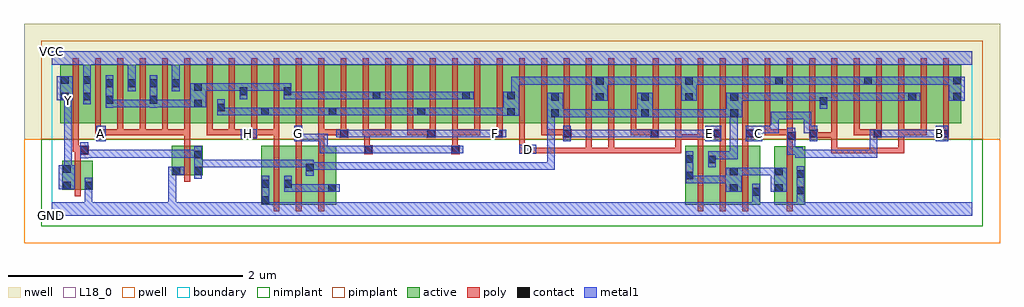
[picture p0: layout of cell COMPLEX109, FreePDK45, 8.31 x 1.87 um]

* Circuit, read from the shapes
.subckt COMPLEX109 A B C D E F G GND H VCC Y
M1 GND n1 Y VSUBS nfet w=0.25u l=0.05u
M2 n1 A GND VSUBS nfet w=0.25u l=0.05u
M3 n2 H GND VSUBS nfet w=0.5u l=0.05u
M4 n1 G n2 VSUBS nfet w=0.5u l=0.05u
M5 n2 F n1 VSUBS nfet w=0.5u l=0.05u
M6 n1 D n3 VSUBS nfet w=0.5u l=0.05u
M7 n3 E n1 VSUBS nfet w=0.5u l=0.05u
M8 GND C n3 VSUBS nfet w=0.5u l=0.05u
M9 GND B n3 VSUBS nfet w=0.5u l=0.05u
M10 VCC n1 Y n4 pfet w=0.5u l=0.05u
M11 n5 A VCC n4 pfet w=0.5u l=0.05u m=5
M12 n6 H n5 n4 pfet w=0.5u l=0.05u m=4
M13 n7 G n5 n4 pfet w=0.5u l=0.05u
M14 n6 F n7 n4 pfet w=0.5u l=0.05u
M15 n8 F n6 n4 pfet w=0.5u l=0.05u
M16 n5 G n8 n4 pfet w=0.5u l=0.05u
M17 n9 G n5 n4 pfet w=0.5u l=0.05u
M18 n6 F n9 n4 pfet w=0.5u l=0.05u
M19 n10 F n6 n4 pfet w=0.5u l=0.05u
M20 n5 G n10 n4 pfet w=0.5u l=0.05u
M21 n11 G n5 n4 pfet w=0.5u l=0.05u
M22 n6 F n11 n4 pfet w=0.5u l=0.05u
M23 n12 D n6 n4 pfet w=0.5u l=0.05u
M24 n1 E n12 n4 pfet w=0.5u l=0.05u
M25 n13 E n1 n4 pfet w=0.5u l=0.05u
M26 n6 D n13 n4 pfet w=0.5u l=0.05u
M27 n14 D n6 n4 pfet w=0.5u l=0.05u
M28 n1 E n14 n4 pfet w=0.5u l=0.05u
M29 n15 E n1 n4 pfet w=0.5u l=0.05u
M30 n6 D n15 n4 pfet w=0.5u l=0.05u
M31 n16 D n6 n4 pfet w=0.5u l=0.05u
M32 n1 E n16 n4 pfet w=0.5u l=0.05u
M33 n17 C n1 n4 pfet w=0.5u l=0.05u
M34 n6 B n17 n4 pfet w=0.5u l=0.05u
M35 n18 B n6 n4 pfet w=0.5u l=0.05u
M36 n1 C n18 n4 pfet w=0.5u l=0.05u
M37 n19 C n1 n4 pfet w=0.5u l=0.05u
M38 n6 B n19 n4 pfet w=0.5u l=0.05u
M39 n20 B n6 n4 pfet w=0.5u l=0.05u
M40 n1 C n20 n4 pfet w=0.5u l=0.05u
M41 n21 C n1 n4 pfet w=0.5u l=0.05u
M42 n6 B n21 n4 pfet w=0.5u l=0.05u
.ends

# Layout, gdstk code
import gdstk
lib = gdstk.Library(unit=1e-6, precision=1e-09)
def R(c, l, rs):  # rectangles x0, y0, x1, y1
    for r in rs: c.add(gdstk.rectangle(r[:2], r[2:], *l))
def A(c, l, x, y, w, h, nx, ny, dx, dy):  # array of equal rectangles
    R(c, l, [(x+i*dx, y+j*dy, x+i*dx+w, y+j*dy+h) for i in range(nx) for j in range(ny)])
active = (1, 0)
pwell = (2, 0)
nwell = (3, 0)
nimplant = (4, 0)
pimplant = (5, 0)
poly = (9, 0)
contact = (10, 0)
metal1 = (11, 0)
L18_0 = (18, 0)
boundary = (235, 0)

complex109 = lib.new_cell('COMPLEX109')
A(complex109, active, 0.075, 0.787, 0.265, 0.5, 3, 1, 0.19, 0)
A(complex109, active, 2.58, 0.787, 0.225, 0.5, 3, 1, 0.38, 0)
A(complex109, active, 2.73, 0.787, 0.23, 0.5, 3, 1, 0.38, 0)
A(complex109, active, 5.62, 0.787, 0.23, 0.5, 4, 1, 0.38, 0)
A(complex109, active, 5.775, 0.787, 0.225, 0.5, 4, 1, 0.38, 0)
A(complex109, active, 1.97, 0.807, 0.075, 0.393, 3, 1, 0.76, 0)
A(complex109, active, 5.015, 0.807, 0.075, 0.263, 3, 1, 0.76, 0)
R(complex109, active, [(6.155,0.092,6.415,0.592), (1.785,0.095,1.86,0.595), (1.785,0.095,2.05,0.595), (1.975,0.095,2.05,0.592), (1.975,0.095,2.235,0.595), (2.16,0.095,2.235,0.592), (2.16,0.095,2.425,0.595), (2.35,0.095,2.425,0.55), (5.395,0.095,5.47,0.595), (5.395,0.095,5.66,0.595), (5.585,0.095,5.66,0.592), (5.585,0.095,5.845,0.595), (5.77,0.095,5.845,0.592), (5.77,0.095,6.035,0.595), (5.96,0.095,6.035,0.595), (6.155,0.095,6.23,0.592), (6.34,0.095,6.415,0.592), (0.092,0.22,0.167,0.47), (0.092,0.22,0.352,0.47), (0.277,0.22,0.352,0.47), (1.025,0.345,1.1,0.595), (1.025,0.345,1.285,0.595), (1.21,0.345,1.285,0.595), (0.075,0.787,0.15,1.2), (0.645,0.787,0.905,1.287), (0.83,0.787,1.095,1.287), (1.02,0.787,1.285,1.287), (1.21,0.787,1.48,1.287), (1.405,0.787,1.67,1.287), (1.595,0.787,1.855,1.287), (1.78,0.787,2.045,1.287), (1.97,0.787,2.2,1.287), (2.2,0.787,2.43,1.287), (2.355,0.787,2.58,1.287), (3.72,0.787,3.95,1.287), (3.875,0.787,4.1,1.287), (4.1,0.787,4.325,1.287), (4.25,0.787,4.48,1.287), (4.48,0.787,4.705,1.287), (4.63,0.787,4.86,1.287), (4.86,0.787,5.09,1.287), (5.015,0.787,5.24,1.287), (5.24,0.787,5.465,1.287), (5.39,0.787,5.62,1.287), (7.14,0.787,7.365,1.287), (7.29,0.787,7.52,1.287), (7.52,0.787,7.745,1.287), (7.67,0.787,7.745,1.2), (0.265,0.807,0.34,1.205), (0.455,0.807,0.53,1.2), (0.645,0.807,0.72,1.205), (0.83,0.807,0.905,1.2), (1.02,0.807,1.095,1.205), (1.21,0.807,1.285,1.2), (1.405,0.807,1.48,1.07), (1.595,0.807,1.67,1.2), (1.78,0.807,1.855,1.07), (2.355,0.807,2.43,1.07), (3.11,0.807,3.185,1.07), (3.875,0.807,3.95,1.2), (4.25,0.807,4.325,1.07), (4.63,0.807,4.705,1.2), (5.39,0.807,5.465,1.2), (6.155,0.807,6.23,1.2), (6.915,0.807,6.99,1.2), (7.29,0.807,7.365,1.07)])
R(complex109, pwell, [(-0.235,-0.235,8.075,0.65)])
R(complex109, nwell, [(-0.235,0.65,8.075,1.635)])
R(complex109, nimplant, [(-0.09,-0.09,7.93,0.65)])
R(complex109, pimplant, [(-0.09,0.65,7.93,1.49)])
A(complex109, poly, 1.89, 0.04, 0.05, 0.61, 3, 1, 0.19, 0)
A(complex109, poly, 5.5, 0.04, 0.05, 0.61, 3, 1, 0.19, 0)
A(complex109, poly, 0.37, 0.687, 0.05, 0.095, 19, 1, 0.19, 0)
A(complex109, poly, 0.56, 0.687, 0.24, 0.05, 3, 1, 0.19, 0)
A(complex109, poly, 0.75, 0.687, 0.05, 0.05, 3, 1, 0.19, 0)
A(complex109, poly, 1.13, 0.687, 0.05, 0.05, 3, 1, 0.19, 0)
A(complex109, poly, 3.03, 0.687, 0.215, 0.05, 3, 1, 1.9, 0)
A(complex109, poly, 5.69, 0.687, 0.05, 0.095, 5, 1, 0.19, 0)
A(complex109, poly, 6.83, 0.687, 0.05, 0.095, 5, 1, 0.19, 0)
A(complex109, poly, 0.18, 0.732, 0.05, 0.61, 40, 1, 0.19, 0)
R(complex109, poly, [(6.26,0.037,6.31,0.647), (0.197,0.165,0.247,0.525), (1.13,0.29,1.18,0.65), (0.197,0.475,0.247,0.57), (0.197,0.52,0.315,0.595), (2.66,0.525,2.735,0.6), (3.402,0.525,3.477,0.6), (3.98,0.53,4.087,0.605), (4.037,0.53,4.087,0.58), (4.037,0.53,4.087,0.58), (4.037,0.53,4.087,0.58), (4.037,0.53,4.087,0.58), (4.037,0.53,4.22,0.58), (4.17,0.53,4.22,0.58), (4.17,0.53,4.22,0.58), (4.17,0.53,4.22,0.58), (4.17,0.53,4.352,0.58), (4.302,0.53,4.352,0.58), (4.302,0.53,4.352,0.58), (4.302,0.53,4.352,0.58), (4.302,0.53,4.6,0.58), (4.55,0.53,4.79,0.58), (4.55,0.53,4.6,0.58), (4.55,0.53,4.6,0.58), (4.55,0.53,4.6,0.58), (4.55,0.53,4.6,0.58), (4.55,0.53,4.6,0.58), (4.55,0.53,4.6,0.782), (4.74,0.53,4.79,0.58), (4.74,0.53,4.79,0.58), (4.74,0.53,4.79,0.58), (4.74,0.53,4.79,0.58), (4.74,0.53,4.79,0.58), (4.74,0.53,5.012,0.58), (4.74,0.53,4.79,0.782), (4.962,0.53,5.012,0.58), (4.962,0.53,5.012,0.58), (4.962,0.53,5.012,0.58), (4.962,0.53,5.227,0.58), (5.177,0.53,5.227,0.58), (5.177,0.53,5.36,0.58), (5.31,0.53,5.36,0.695), (6.64,0.53,6.69,0.58), (6.64,0.53,6.69,0.58), (6.64,0.53,6.69,0.58), (6.64,0.53,6.912,0.58), (6.64,0.53,6.69,0.712), (6.862,0.53,6.912,0.58), (6.862,0.53,6.912,0.58), (6.862,0.53,6.912,0.58), (6.862,0.53,7.127,0.58), (7.077,0.53,7.127,0.58), (7.077,0.53,7.127,0.58), (7.077,0.53,7.127,0.58), (7.077,0.53,7.26,0.58), (7.21,0.53,7.26,0.58), (7.21,0.53,7.26,0.737), (0.18,0.545,0.23,0.782), (0.18,0.545,0.247,0.595), (0.197,0.545,0.247,0.595), (2.66,0.55,2.71,0.737), (3.41,0.55,3.46,0.737), (3.98,0.555,4.03,0.782), (6.26,0.597,6.31,0.692), (1.13,0.6,1.18,0.737), (1.89,0.6,1.94,0.737), (2.08,0.6,2.13,0.712), (2.27,0.6,2.32,0.737), (5.5,0.6,5.55,0.695), (5.69,0.6,5.74,0.712), (5.88,0.6,5.93,0.712), (6.26,0.642,6.335,0.717), (5.31,0.645,5.55,0.695), (5.31,0.645,5.36,0.695), (5.31,0.645,5.36,0.695), (5.31,0.645,5.36,0.695), (5.31,0.645,5.36,0.695), (5.31,0.645,5.36,0.782), (5.5,0.645,5.55,0.695), (5.5,0.645,5.55,0.695), (5.5,0.645,5.55,0.695), (5.5,0.645,5.55,0.695), (5.5,0.645,5.55,0.695), (5.5,0.645,5.55,0.782), (0.37,0.662,0.452,0.737), (1.642,0.662,1.75,0.737), (2.062,0.662,2.137,0.737), (2.452,0.662,2.527,0.737), (3.195,0.662,3.27,0.737), (3.765,0.662,3.84,0.737), (4.352,0.662,4.427,0.737), (5.095,0.662,5.17,0.737), (5.632,0.662,5.74,0.737), (5.69,0.662,5.74,0.712), (5.69,0.662,5.74,0.712), (5.88,0.662,5.982,0.737), (6.45,0.662,6.525,0.737), (6.475,0.662,6.525,0.712), (6.475,0.662,6.525,0.712), (6.475,0.662,6.69,0.712), (6.64,0.662,6.69,0.712), (6.64,0.662,6.69,0.782), (6.995,0.662,7.07,0.737), (7.565,0.662,7.64,0.737), (6.26,0.667,6.31,0.717), (6.26,0.667,6.31,0.737), (0.402,0.687,0.452,0.737), (0.402,0.687,0.452,0.737), (0.402,0.687,0.61,0.737), (0.56,0.687,0.61,0.737), (0.56,0.687,0.61,0.737), (0.56,0.687,0.61,0.737), (0.75,0.687,0.8,0.737), (0.75,0.687,0.8,0.737), (1.13,0.687,1.18,0.737), (1.13,0.687,1.18,0.737), (1.13,0.687,1.18,0.737), (1.32,0.687,1.56,0.737), (1.51,0.687,1.56,0.737), (1.51,0.687,1.56,0.737), (1.51,0.687,1.692,0.737), (1.642,0.687,1.692,0.737), (1.642,0.687,1.692,0.737), (1.7,0.687,1.94,0.737), (1.89,0.687,1.94,0.737), (1.89,0.687,1.94,0.737), (1.89,0.687,1.94,0.737), (1.89,0.687,1.94,0.737), (1.89,0.687,1.94,0.737), (2.08,0.687,2.13,0.737), (2.08,0.687,2.13,0.737), (2.27,0.687,2.32,0.737), (2.27,0.687,2.32,0.737), (2.27,0.687,2.32,0.737), (2.27,0.687,2.502,0.737), (2.452,0.687,2.502,0.737), (2.452,0.687,2.502,0.737), (2.65,0.687,2.71,0.737), (2.66,0.687,2.89,0.737), (2.84,0.687,2.89,0.737), (2.84,0.687,2.89,0.737), (2.84,0.687,2.89,0.737), (3.03,0.687,3.08,0.737), (3.195,0.687,3.245,0.737), (3.195,0.687,3.245,0.737), (3.41,0.687,3.65,0.737), (3.41,0.687,3.46,0.737), (3.6,0.687,3.65,0.737), (3.6,0.687,3.65,0.737), (3.6,0.687,3.65,0.737), (4.17,0.687,4.22,0.782), (4.17,0.687,4.22,0.737), (4.17,0.687,4.22,0.737), (4.17,0.687,4.22,0.737), (4.17,0.687,4.402,0.737), (4.36,0.687,4.41,0.782), (4.93,0.687,4.98,0.782), (4.93,0.687,4.98,0.737), (5.095,0.687,5.145,0.737), (5.095,0.687,5.145,0.737), (5.12,0.687,5.17,0.782), (5.88,0.687,5.93,0.737), (5.88,0.687,5.93,0.737), (6.07,0.687,6.31,0.737), (6.07,0.687,6.12,0.737), (6.07,0.687,6.12,0.737), (6.07,0.687,6.12,0.737), (6.83,0.687,6.88,0.737), (6.83,0.687,6.88,0.737), (6.83,0.687,6.88,0.737), (7.21,0.687,7.45,0.737), (7.21,0.687,7.26,0.737), (7.21,0.687,7.26,0.737), (7.21,0.687,7.26,0.737), (7.4,0.687,7.45,0.737)])
R(complex109, contact, [(1.79,0.1,1.855,0.165), (5.965,0.172,6.03,0.237), (6.345,0.182,6.41,0.247), (2.355,0.205,2.42,0.27), (5.775,0.205,5.84,0.27), (6.16,0.205,6.225,0.27), (0.097,0.225,0.162,0.29), (0.282,0.225,0.347,0.29), (1.79,0.24,1.855,0.305), (1.98,0.24,2.045,0.305), (5.4,0.31,5.465,0.375), (6.345,0.322,6.41,0.387), (5.775,0.345,5.84,0.41), (6.16,0.345,6.225,0.41), (1.03,0.35,1.095,0.415), (1.215,0.35,1.28,0.415), (0.097,0.365,0.162,0.43), (2.165,0.377,2.23,0.442), (5.59,0.447,5.655,0.512), (5.4,0.45,5.465,0.515), (1.215,0.49,1.28,0.555), (0.245,0.525,0.31,0.59), (2.665,0.53,2.73,0.595), (3.407,0.53,3.472,0.595), (4.017,0.535,4.082,0.6), (6.265,0.647,6.33,0.712), (0.382,0.667,0.447,0.732), (1.647,0.667,1.712,0.732), (2.067,0.667,2.132,0.732), (2.457,0.667,2.522,0.732), (3.2,0.667,3.265,0.732), (3.77,0.667,3.835,0.732), (4.357,0.667,4.422,0.732), (5.1,0.667,5.165,0.732), (5.637,0.667,5.702,0.732), (5.912,0.667,5.977,0.732), (6.455,0.667,6.52,0.732), (7,0.667,7.065,0.732), (7.57,0.667,7.635,0.732), (4.255,0.84,4.32,0.905), (5.02,0.84,5.085,0.905), (5.78,0.84,5.845,0.905), (3.88,0.852,3.945,0.917), (1.785,0.855,1.85,0.92), (2.36,0.855,2.425,0.92), (3.115,0.855,3.18,0.92), (1.41,0.89,1.475,0.955), (1.215,0.922,1.28,0.987), (6.54,0.945,6.605,1.01), (0.46,0.955,0.525,1.02), (0.835,0.955,0.9,1.02), (4.635,0.977,4.7,1.042), (5.395,0.977,5.46,1.042), (4.255,0.98,4.32,1.045), (5.02,0.98,5.085,1.045), (5.78,0.98,5.845,1.045), (7.295,0.98,7.36,1.045), (7.675,0.98,7.74,1.045), (0.08,0.982,0.145,1.047), (0.27,0.982,0.335,1.047), (2.735,0.992,2.8,1.057), (3.495,0.992,3.56,1.057), (3.88,0.992,3.945,1.057), (1.6,1.027,1.665,1.092), (1.975,1.027,2.04,1.092), (1.215,1.062,1.28,1.127), (0.46,1.095,0.525,1.16), (0.65,1.095,0.715,1.16), (0.835,1.095,0.9,1.16), (1.025,1.095,1.09,1.16), (4.635,1.117,4.7,1.182), (5.395,1.117,5.46,1.182), (6.16,1.117,6.225,1.182), (6.92,1.117,6.985,1.182), (7.675,1.12,7.74,1.185), (0.08,1.122,0.145,1.187), (0.27,1.122,0.335,1.187)])
A(complex109, metal1, 3.165, 0.667, 0.135, 0.065, 3, 1, 1.9, 0)
R(complex109, metal1, [(0,0,7.84,0.115), (0.282,0.05,0.347,0.115), (0.282,0.05,0.347,0.115), (0.282,0.05,0.347,0.115), (0.282,0.05,0.347,0.115), (0.282,0.05,0.347,0.255), (0.995,0.05,1.06,0.415), (1.79,0.05,1.855,0.13), (5.965,0.05,6.03,0.202), (6.345,0.05,6.41,0.212), (1.79,0.065,1.855,0.34), (5.965,0.137,6.03,0.272), (6.345,0.147,6.41,0.422), (0.282,0.19,0.347,0.325), (1.98,0.205,2.045,0.27), (1.98,0.205,2.045,0.27), (1.98,0.205,2.045,0.34), (1.98,0.205,2.247,0.27), (2.182,0.205,2.247,0.27), (2.182,0.205,2.35,0.27), (2.285,0.205,2.35,0.27), (2.285,0.205,2.385,0.27), (2.32,0.205,2.455,0.27), (5.74,0.205,5.875,0.41), (6.125,0.205,6.26,0.41), (0.062,0.225,0.197,0.43), (5.4,0.275,5.465,0.55), (5.4,0.275,5.495,0.34), (5.43,0.275,5.495,0.34), (5.43,0.275,5.632,0.34), (5.567,0.275,5.632,0.34), (5.567,0.275,5.632,0.34), (5.567,0.275,5.632,0.34), (5.567,0.275,5.805,0.34), (1.215,0.315,1.28,0.59), (2.165,0.342,2.23,0.477), (5.81,0.345,6.052,0.41), (5.987,0.345,6.052,0.41), (5.987,0.345,6.052,0.41), (5.987,0.345,6.052,0.41), (5.987,0.345,6.19,0.41), (6.125,0.345,6.19,0.41), (6.125,0.345,6.19,0.41), (0.995,0.35,1.06,0.415), (0.995,0.35,1.06,0.415), (0.995,0.35,1.06,0.415), (0.995,0.35,1.06,0.415), (0.995,0.35,1.13,0.415), (0.107,0.365,0.172,0.977), (2.165,0.39,2.35,0.455), (2.285,0.39,2.35,0.455), (2.285,0.39,2.487,0.455), (2.422,0.39,2.487,0.455), (2.422,0.39,2.487,0.455), (2.422,0.39,2.487,0.455), (2.422,0.39,2.627,0.455), (2.562,0.39,2.627,0.455), (2.562,0.39,2.765,0.455), (2.7,0.39,2.765,0.455), (2.7,0.39,2.765,0.455), (2.7,0.39,2.765,0.455), (2.7,0.39,2.902,0.455), (2.837,0.39,2.902,0.455), (2.837,0.39,3.007,0.455), (2.942,0.39,3.007,0.455), (2.942,0.39,3.04,0.455), (2.975,0.39,3.04,0.455), (2.975,0.39,3.215,0.455), (3.15,0.39,3.215,0.455), (3.15,0.39,3.215,0.455), (3.15,0.39,3.215,0.455), (3.15,0.39,3.352,0.455), (3.287,0.39,3.352,0.455), (3.287,0.39,3.497,0.455), (3.432,0.39,3.497,0.455), (3.432,0.39,3.497,0.455), (3.432,0.39,3.497,0.455), (3.432,0.39,3.635,0.455), (3.57,0.39,3.635,0.455), (3.57,0.39,3.772,0.455), (3.707,0.39,3.772,0.455), (3.707,0.39,3.772,0.455), (3.707,0.39,3.772,0.455), (3.707,0.39,3.91,0.455), (3.845,0.39,3.91,0.455), (3.845,0.39,3.91,0.455), (3.845,0.39,3.91,0.455), (3.845,0.39,3.91,0.455), (3.845,0.39,3.91,0.455), (3.845,0.39,4.117,0.455), (4.052,0.39,4.117,0.455), (4.052,0.39,4.117,0.455), (4.052,0.39,4.117,0.455), (4.052,0.39,4.285,0.455), (4.22,0.39,4.285,0.455), (4.22,0.39,4.285,0.905), (1.215,0.412,1.28,0.477), (1.215,0.412,1.28,0.477), (1.215,0.412,1.452,0.477), (1.387,0.412,1.452,0.477), (1.387,0.412,1.452,0.477), (1.387,0.412,1.452,0.477), (1.387,0.412,1.665,0.477), (1.6,0.412,1.665,0.477), (1.6,0.412,1.665,0.477), (1.6,0.412,1.665,0.477), (1.6,0.412,1.885,0.477), (1.82,0.412,1.885,0.477), (1.82,0.412,1.885,0.477), (1.82,0.412,1.885,0.477), (1.82,0.412,2.022,0.477), (1.957,0.412,2.022,0.477), (1.957,0.412,2.022,0.477), (1.957,0.412,2.022,0.477), (1.957,0.412,2.23,0.477), (5.59,0.412,5.655,0.547), (5.59,0.482,5.655,0.547), (5.59,0.482,5.655,0.547), (5.59,0.482,5.84,0.547), (5.775,0.482,5.84,0.547), (5.775,0.482,5.84,0.905), (0.245,0.49,0.31,0.625), (0.245,0.495,0.335,0.56), (0.27,0.495,0.335,0.56), (0.27,0.495,0.335,0.56), (0.27,0.495,0.335,0.56), (0.27,0.495,0.577,0.56), (0.512,0.495,0.577,0.56), (0.512,0.495,0.577,0.56), (0.512,0.495,0.577,0.56), (0.512,0.495,0.73,0.56), (0.665,0.495,0.73,0.56), (0.665,0.495,0.73,0.56), (0.665,0.495,0.73,0.56), (0.665,0.495,0.867,0.56), (0.802,0.495,0.867,0.56), (0.802,0.495,0.867,0.56), (0.802,0.495,0.867,0.56), (0.802,0.495,1.005,0.56), (0.94,0.495,1.005,0.56), (0.94,0.495,1.037,0.56), (0.972,0.495,1.037,0.56), (0.972,0.495,1.142,0.56), (1.077,0.495,1.142,0.56), (1.077,0.495,1.28,0.56), (6.332,0.495,6.467,0.56), (6.332,0.495,6.397,0.582), (6.402,0.495,6.467,0.56), (6.402,0.495,6.605,0.56), (6.54,0.495,6.605,0.56), (6.54,0.495,6.605,0.56), (6.54,0.495,6.605,0.56), (6.54,0.495,6.812,0.56), (6.747,0.495,6.812,0.56), (6.747,0.495,6.812,0.56), (6.747,0.495,6.812,0.56), (6.747,0.495,7.03,0.56), (6.965,0.495,7.03,0.56), (6.965,0.495,7.03,0.732), (6.265,0.517,6.397,0.582), (6.265,0.517,6.33,0.747), (3.982,0.527,4.127,0.605), (2.285,0.53,2.487,0.595), (2.285,0.53,2.35,0.697), (2.422,0.53,2.487,0.595), (2.422,0.53,2.487,0.595), (2.422,0.53,2.487,0.595), (2.422,0.53,2.627,0.595), (2.562,0.53,2.627,0.595), (2.562,0.53,2.695,0.595), (2.63,0.53,2.765,0.595), (2.7,0.53,2.765,0.595), (2.7,0.53,2.765,0.595), (2.7,0.53,2.902,0.595), (2.837,0.53,2.902,0.595), (2.837,0.53,3.007,0.595), (2.942,0.53,3.007,0.595), (2.942,0.53,3.04,0.595), (2.975,0.53,3.04,0.595), (2.975,0.53,3.177,0.595), (3.112,0.53,3.177,0.595), (3.112,0.53,3.177,0.595), (3.112,0.53,3.177,0.595), (3.112,0.53,3.352,0.595), (3.287,0.53,3.352,0.595), (3.287,0.53,3.437,0.595), (3.372,0.53,3.507,0.595), (0.382,0.632,0.462,0.767), (2.067,0.632,2.132,0.767), (2.067,0.632,2.247,0.697), (2.182,0.632,2.247,0.697), (2.182,0.632,2.35,0.697), (4.357,0.632,4.422,0.767), (5.567,0.632,5.702,0.767), (5.912,0.632,6.052,0.767), (6.455,0.632,6.52,0.767), (7.527,0.632,7.635,0.767), (1.612,0.657,1.747,0.735), (2.422,0.667,2.557,0.732), (2.492,0.667,2.627,0.732), (2.562,0.667,2.627,0.732), (2.562,0.667,2.765,0.732), (2.7,0.667,2.765,0.732), (2.7,0.667,2.765,0.732), (2.7,0.667,2.765,0.732), (2.7,0.667,2.902,0.732), (2.837,0.667,2.902,0.732), (2.837,0.667,2.972,0.732), (2.907,0.667,2.972,0.732), (2.907,0.667,3.04,0.732), (2.975,0.667,3.04,0.732), (2.975,0.667,3.145,0.732), (3.08,0.667,3.145,0.732), (3.08,0.667,3.23,0.732), (3.235,0.667,3.352,0.732), (3.287,0.667,3.352,0.732), (3.287,0.667,3.49,0.732), (3.425,0.667,3.49,0.732), (3.425,0.667,3.49,0.732), (3.425,0.667,3.49,0.732), (3.425,0.667,3.635,0.732), (3.57,0.667,3.635,0.732), (3.57,0.667,3.635,0.732), (3.57,0.667,3.635,0.732), (3.57,0.667,3.777,0.732), (3.712,0.667,3.87,0.732), (4.357,0.667,4.527,0.732), (4.462,0.667,4.527,0.732), (4.462,0.667,4.665,0.732), (4.6,0.667,4.665,0.732), (4.6,0.667,4.665,0.732), (4.6,0.667,4.665,0.732), (4.6,0.667,4.845,0.732), (4.78,0.667,4.845,0.732), (4.78,0.667,4.872,0.732), (4.807,0.667,4.872,0.732), (4.807,0.667,4.982,0.732), (4.917,0.667,4.982,0.732), (4.917,0.667,5.13,0.732), (5.065,0.667,5.13,0.732), (5.065,0.667,5.13,0.732), (5.135,0.667,5.287,0.732), (5.222,0.667,5.287,0.732), (5.222,0.667,5.337,0.732), (5.272,0.667,5.337,0.732), (5.272,0.667,5.495,0.732), (5.43,0.667,5.495,0.732), (5.43,0.667,5.495,0.732), (5.43,0.667,5.495,0.732), (5.43,0.667,5.632,0.732), (5.567,0.667,5.632,0.732), (5.567,0.667,5.632,0.732), (6.965,0.667,7.03,0.732), (6.965,0.667,7.03,0.732), (7.035,0.667,7.167,0.732), (7.102,0.667,7.167,0.732), (7.102,0.667,7.305,0.732), (7.24,0.667,7.305,0.732), (7.24,0.667,7.305,0.732), (7.24,0.667,7.305,0.732), (7.24,0.667,7.455,0.732), (7.39,0.667,7.455,0.732), (7.39,0.667,7.455,0.732), (7.39,0.667,7.455,0.732), (7.39,0.667,7.592,0.732), (5.987,0.702,6.052,0.767), (5.987,0.702,6.052,0.767), (5.987,0.702,6.19,0.767), (6.125,0.702,6.19,0.767), (6.125,0.702,6.19,0.767), (6.125,0.702,6.19,0.767), (6.125,0.702,6.19,0.885), (6.402,0.702,6.52,0.767), (6.402,0.702,6.467,0.885), (6.125,0.82,6.19,0.885), (6.125,0.82,6.327,0.885), (6.262,0.82,6.327,0.885), (6.262,0.82,6.467,0.885), (4.22,0.84,4.285,0.905), (4.22,0.84,4.285,0.905), (4.22,0.84,4.355,1.045), (4.29,0.84,4.492,0.905), (4.427,0.84,4.492,0.905), (4.427,0.84,4.492,0.905), (4.427,0.84,4.492,0.905), (4.427,0.84,4.665,0.905), (4.6,0.84,4.665,0.905), (4.6,0.84,4.665,0.905), (4.6,0.84,4.665,0.905), (4.6,0.84,4.802,0.905), (4.737,0.84,4.802,0.905), (4.737,0.84,4.912,0.905), (4.847,0.84,4.912,0.905), (4.847,0.84,4.982,0.905), (4.917,0.84,4.982,0.905), (4.917,0.84,5.05,0.905), (4.985,0.84,5.12,1.045), (5.055,0.84,5.12,0.905), (5.055,0.84,5.12,0.905), (5.055,0.84,5.287,0.905), (5.222,0.84,5.287,0.905), (5.222,0.84,5.357,0.905), (5.292,0.84,5.357,0.905), (5.292,0.84,5.495,0.905), (5.43,0.84,5.495,0.905), (5.43,0.84,5.495,0.905), (5.43,0.84,5.495,0.905), (5.43,0.84,5.655,0.905), (5.59,0.84,5.655,0.905), (5.59,0.84,5.655,0.905), (5.59,0.84,5.655,0.905), (5.59,0.84,5.81,0.905), (5.745,0.84,5.88,1.045), (5.775,0.84,5.84,0.905), (5.775,0.84,5.84,0.905), (5.775,0.84,5.84,0.905), (5.775,0.84,5.84,0.905), (3.845,0.852,3.98,1.057), (1.41,0.855,1.475,0.92), (1.41,0.855,1.475,0.92), (1.41,0.855,1.475,0.99), (1.41,0.855,1.677,0.92), (1.612,0.855,1.677,0.92), (1.612,0.855,1.747,0.92), (1.682,0.855,1.747,0.92), (1.682,0.855,1.815,0.92), (1.75,0.855,1.885,0.92), (1.82,0.855,1.885,0.92), (1.82,0.855,1.885,0.92), (1.82,0.855,2.075,0.92), (2.01,0.855,2.075,0.92), (2.01,0.855,2.212,0.92), (2.147,0.855,2.212,0.92), (2.147,0.855,2.212,0.92), (2.147,0.855,2.212,0.92), (2.147,0.855,2.35,0.92), (2.285,0.855,2.35,0.92), (2.285,0.855,2.39,0.92), (2.325,0.855,2.46,0.92), (2.395,0.855,2.487,0.92), (2.422,0.855,2.487,0.92), (2.422,0.855,2.627,0.92), (2.562,0.855,2.627,0.92), (2.562,0.855,2.765,0.92), (2.7,0.855,2.765,0.92), (2.7,0.855,2.765,0.92), (2.7,0.855,2.765,0.92), (2.7,0.855,2.902,0.92), (2.837,0.855,2.902,0.92), (2.837,0.855,3.007,0.92), (2.942,0.855,3.007,0.92), (2.942,0.855,3.04,0.92), (2.975,0.855,3.04,0.92), (2.975,0.855,3.145,0.92), (3.08,0.855,3.215,0.92), (3.15,0.855,3.215,0.92), (3.15,0.855,3.215,0.92), (3.15,0.855,3.352,0.92), (3.287,0.855,3.352,0.92), (3.287,0.855,3.497,0.92), (3.432,0.855,3.497,0.92), (3.432,0.855,3.497,0.92), (3.432,0.855,3.497,0.92), (3.432,0.855,3.635,0.92), (3.57,0.855,3.635,0.92), (3.57,0.855,3.772,0.92), (3.707,0.855,3.772,0.92), (3.707,0.855,3.772,0.92), (3.707,0.855,3.772,0.92), (3.707,0.855,3.91,0.92), (6.54,0.91,6.605,1.045), (0.107,0.912,0.172,1.047), (0.46,0.92,0.525,1.195), (0.835,0.92,0.9,1.195), (0.46,0.922,0.73,0.987), (0.665,0.922,0.73,0.987), (0.665,0.922,0.73,0.987), (0.665,0.922,0.73,0.987), (0.665,0.922,0.867,0.987), (0.802,0.922,0.867,0.987), (0.802,0.922,0.9,0.987), (0.835,0.922,1.005,0.987), (0.94,0.922,1.005,0.987), (0.94,0.922,1.037,0.987), (0.972,0.922,1.037,0.987), (0.972,0.922,1.142,0.987), (1.077,0.922,1.142,0.987), (1.077,0.922,1.245,0.987), (1.18,0.922,1.315,1.127), (0.27,0.947,0.335,1.222), (4.6,0.977,4.735,1.182), (5.36,0.977,5.495,1.182), (5.815,0.98,6.052,1.045), (5.987,0.98,6.052,1.045), (5.987,0.98,6.052,1.045), (5.987,0.98,6.052,1.045), (5.987,0.98,6.19,1.045), (6.125,0.98,6.19,1.045), (6.125,0.98,6.19,1.045), (6.125,0.98,6.19,1.045), (6.125,0.98,6.327,1.045), (6.262,0.98,6.327,1.045), (6.262,0.98,6.467,1.045), (6.402,0.98,6.467,1.045), (6.402,0.98,6.467,1.045), (6.402,0.98,6.467,1.045), (6.402,0.98,6.605,1.045), (6.54,0.98,6.605,1.045), (6.54,0.98,6.605,1.045), (6.54,0.98,6.742,1.045), (6.677,0.98,6.742,1.045), (6.677,0.98,6.742,1.045), (6.677,0.98,6.742,1.045), (6.677,0.98,7.03,1.045), (6.965,0.98,7.03,1.045), (6.965,0.98,7.167,1.045), (7.102,0.98,7.167,1.045), (7.102,0.98,7.167,1.045), (7.102,0.98,7.167,1.045), (7.102,0.98,7.317,1.045), (7.252,0.98,7.317,1.045), (7.252,0.98,7.325,1.045), (7.26,0.98,7.395,1.045), (7.64,0.98,7.775,1.185), (0.045,0.982,0.18,1.187), (0.107,0.982,0.172,1.047), (0.107,0.982,0.172,1.047), (0.107,0.982,0.172,1.047), (1.6,0.992,1.665,1.127), (1.975,0.992,2.04,1.057), (1.975,0.992,2.04,1.057), (1.975,0.992,2.04,1.057), (1.975,0.992,2.04,1.057), (1.975,0.992,2.247,1.057), (1.975,0.992,2.04,1.127), (2.182,0.992,2.247,1.057), (2.182,0.992,2.35,1.057), (2.285,0.992,2.35,1.057), (2.285,0.992,2.49,1.057), (2.425,0.992,2.49,1.057), (2.425,0.992,2.49,1.057), (2.425,0.992,2.49,1.057), (2.425,0.992,2.627,1.057), (2.562,0.992,2.627,1.057), (2.562,0.992,2.765,1.057), (2.7,0.992,2.765,1.057), (2.7,0.992,2.765,1.057), (2.7,0.992,2.835,1.057), (2.77,0.992,2.902,1.057), (2.837,0.992,2.902,1.057), (2.837,0.992,2.972,1.057), (2.907,0.992,2.972,1.057), (2.907,0.992,3.04,1.057), (2.975,0.992,3.04,1.057), (2.975,0.992,3.215,1.057), (3.15,0.992,3.215,1.057), (3.15,0.992,3.215,1.057), (3.15,0.992,3.215,1.057), (3.15,0.992,3.352,1.057), (3.287,0.992,3.352,1.057), (3.287,0.992,3.437,1.057), (3.372,0.992,3.437,1.057), (3.372,0.992,3.525,1.057), (3.46,0.992,3.595,1.057), (3.915,0.992,3.98,1.182), (0.65,1.06,0.715,1.195), (1.025,1.06,1.09,1.195), (1.25,1.062,1.315,1.127), (1.25,1.062,1.315,1.127), (1.25,1.062,1.527,1.127), (1.462,1.062,1.527,1.127), (1.462,1.062,1.527,1.127), (1.462,1.062,1.527,1.127), (1.462,1.062,1.665,1.127), (1.6,1.062,1.747,1.127), (1.682,1.062,1.747,1.127), (1.682,1.062,1.815,1.127), (1.75,1.062,1.815,1.127), (1.75,1.062,1.885,1.127), (1.82,1.062,1.885,1.127), (1.82,1.062,2.04,1.127), (3.915,1.117,3.98,1.182), (3.915,1.117,3.98,1.182), (3.915,1.117,3.98,1.182), (3.915,1.117,4.117,1.182), (4.052,1.117,4.117,1.182), (4.052,1.117,4.255,1.182), (4.19,1.117,4.255,1.182), (4.19,1.117,4.255,1.182), (4.19,1.117,4.255,1.182), (4.19,1.117,4.492,1.182), (4.427,1.117,4.492,1.182), (4.427,1.117,4.492,1.182), (4.427,1.117,4.492,1.182), (4.427,1.117,4.665,1.182), (4.6,1.117,4.665,1.182), (4.6,1.117,4.665,1.182), (4.67,1.117,4.845,1.182), (4.78,1.117,4.845,1.182), (4.78,1.117,4.872,1.182), (4.807,1.117,4.872,1.182), (4.807,1.117,4.982,1.182), (4.917,1.117,4.982,1.182), (4.917,1.117,5.15,1.182), (5.085,1.117,5.15,1.182), (5.085,1.117,5.15,1.182), (5.085,1.117,5.15,1.182), (5.085,1.117,5.287,1.182), (5.222,1.117,5.287,1.182), (5.222,1.117,5.357,1.182), (5.292,1.117,5.357,1.182), (5.292,1.117,5.425,1.182), (5.43,1.117,5.495,1.182), (5.43,1.117,5.495,1.182), (5.43,1.117,5.655,1.182), (5.59,1.117,5.655,1.182), (5.59,1.117,5.792,1.182), (5.727,1.117,5.792,1.182), (5.727,1.117,5.792,1.182), (5.727,1.117,5.792,1.182), (5.727,1.117,6.017,1.182), (5.952,1.117,6.017,1.182), (5.952,1.117,6.017,1.182), (5.952,1.117,6.017,1.182), (5.952,1.117,6.19,1.182), (6.125,1.117,6.19,1.182), (6.125,1.117,6.19,1.182), (6.125,1.117,6.26,1.182), (6.195,1.117,6.327,1.182), (6.262,1.117,6.327,1.182), (6.262,1.117,6.467,1.182), (6.402,1.117,6.467,1.182), (6.402,1.117,6.467,1.182), (6.402,1.117,6.467,1.182), (6.402,1.117,6.605,1.182), (6.54,1.117,6.605,1.182), (6.54,1.117,6.605,1.182), (6.54,1.117,6.605,1.182), (6.54,1.117,6.812,1.182), (6.747,1.117,6.812,1.182), (6.747,1.117,6.812,1.182), (6.747,1.117,6.812,1.182), (6.747,1.117,6.95,1.182), (6.885,1.117,7.02,1.182), (6.955,1.117,7.02,1.182), (6.955,1.117,7.02,1.182), (6.955,1.117,7.167,1.182), (7.102,1.117,7.167,1.182), (7.102,1.117,7.305,1.182), (7.24,1.117,7.305,1.182), (7.24,1.117,7.305,1.182), (7.24,1.117,7.305,1.182), (7.24,1.117,7.455,1.182), (7.39,1.117,7.455,1.182), (7.39,1.117,7.455,1.182), (7.39,1.117,7.455,1.182), (7.39,1.117,7.705,1.182), (7.64,1.117,7.705,1.182), (7.64,1.117,7.705,1.182), (0.65,1.13,0.715,1.35), (1.025,1.13,1.09,1.35), (0.27,1.157,0.335,1.35), (0,1.285,7.84,1.4)])
A(complex109, L18_0, 3.165, 0.667, 0.135, 0.065, 3, 1, 1.9, 0)
R(complex109, L18_0, [(0,0,7.84,0.115), (0.282,0.05,0.347,0.115), (0.282,0.05,0.347,0.115), (0.282,0.05,0.347,0.115), (0.282,0.05,0.347,0.115), (0.282,0.05,0.347,0.255), (0.995,0.05,1.06,0.415), (1.79,0.05,1.855,0.13), (5.965,0.05,6.03,0.202), (6.345,0.05,6.41,0.212), (1.79,0.065,1.855,0.34), (5.965,0.137,6.03,0.272), (6.345,0.147,6.41,0.422), (0.282,0.19,0.347,0.325), (0.062,0.225,0.197,0.43), (0.995,0.35,1.06,0.415), (0.995,0.35,1.06,0.415), (0.995,0.35,1.06,0.415), (0.995,0.35,1.06,0.415), (0.995,0.35,1.13,0.415), (0.107,0.365,0.172,0.977), (6.332,0.495,6.467,0.56), (6.332,0.495,6.397,0.582), (6.402,0.495,6.467,0.56), (6.402,0.495,6.605,0.56), (6.54,0.495,6.605,0.56), (6.54,0.495,6.605,0.56), (6.54,0.495,6.605,0.56), (6.54,0.495,6.812,0.56), (6.747,0.495,6.812,0.56), (6.747,0.495,6.812,0.56), (6.747,0.495,6.812,0.56), (6.747,0.495,7.03,0.56), (6.965,0.495,7.03,0.56), (6.965,0.495,7.03,0.732), (6.265,0.517,6.33,0.747), (6.265,0.517,6.397,0.582), (3.982,0.527,4.127,0.605), (4.027,0.527,4.092,0.592), (2.285,0.53,2.35,0.697), (2.285,0.53,2.487,0.595), (2.422,0.53,2.487,0.595), (2.422,0.53,2.487,0.595), (2.422,0.53,2.487,0.595), (2.422,0.53,2.627,0.595), (2.562,0.53,2.627,0.595), (2.562,0.53,2.695,0.595), (2.63,0.53,2.765,0.595), (2.7,0.53,2.765,0.595), (2.7,0.53,2.765,0.595), (2.7,0.53,2.902,0.595), (2.837,0.53,2.902,0.595), (2.837,0.53,3.007,0.595), (2.942,0.53,3.007,0.595), (2.942,0.53,3.04,0.595), (2.975,0.53,3.04,0.595), (2.975,0.53,3.177,0.595), (3.112,0.53,3.177,0.595), (3.112,0.53,3.177,0.595), (3.112,0.53,3.177,0.595), (3.112,0.53,3.352,0.595), (3.287,0.53,3.352,0.595), (3.287,0.53,3.437,0.595), (3.372,0.53,3.507,0.595), (0.382,0.632,0.462,0.767), (2.067,0.632,2.132,0.767), (2.067,0.632,2.247,0.697), (2.182,0.632,2.247,0.697), (2.182,0.632,2.35,0.697), (4.357,0.632,4.422,0.767), (5.567,0.632,5.702,0.767), (5.912,0.632,6.052,0.767), (6.455,0.632,6.52,0.767), (7.527,0.632,7.635,0.767), (1.612,0.657,1.747,0.735), (0.387,0.667,0.452,0.732), (1.647,0.667,1.712,0.732), (2.067,0.667,2.132,0.732), (2.422,0.667,2.557,0.732), (2.492,0.667,2.627,0.732), (2.562,0.667,2.627,0.732), (2.562,0.667,2.765,0.732), (2.7,0.667,2.765,0.732), (2.7,0.667,2.765,0.732), (2.7,0.667,2.765,0.732), (2.7,0.667,2.902,0.732), (2.837,0.667,2.902,0.732), (2.837,0.667,2.972,0.732), (2.907,0.667,2.972,0.732), (2.907,0.667,3.04,0.732), (2.975,0.667,3.04,0.732), (2.975,0.667,3.145,0.732), (3.08,0.667,3.145,0.732), (3.08,0.667,3.23,0.732), (3.235,0.667,3.352,0.732), (3.287,0.667,3.352,0.732), (3.287,0.667,3.49,0.732), (3.425,0.667,3.49,0.732), (3.425,0.667,3.49,0.732), (3.425,0.667,3.49,0.732), (3.425,0.667,3.635,0.732), (3.57,0.667,3.635,0.732), (3.57,0.667,3.635,0.732), (3.57,0.667,3.635,0.732), (3.57,0.667,3.777,0.732), (3.712,0.667,3.87,0.732), (3.747,0.667,3.812,0.732), (4.357,0.667,4.527,0.732), (4.462,0.667,4.527,0.732), (4.462,0.667,4.665,0.732), (4.6,0.667,4.665,0.732), (4.6,0.667,4.665,0.732), (4.6,0.667,4.665,0.732), (4.6,0.667,4.845,0.732), (4.78,0.667,4.845,0.732), (4.78,0.667,4.872,0.732), (4.807,0.667,4.872,0.732), (4.807,0.667,4.982,0.732), (4.917,0.667,4.982,0.732), (4.917,0.667,5.13,0.732), (5.065,0.667,5.13,0.732), (5.065,0.667,5.13,0.732), (5.135,0.667,5.287,0.732), (5.222,0.667,5.287,0.732), (5.222,0.667,5.337,0.732), (5.272,0.667,5.337,0.732), (5.272,0.667,5.495,0.732), (5.43,0.667,5.495,0.732), (5.43,0.667,5.495,0.732), (5.43,0.667,5.495,0.732), (5.43,0.667,5.632,0.732), (5.567,0.667,5.632,0.732), (5.567,0.667,5.632,0.732), (5.567,0.667,5.632,0.732), (5.987,0.667,6.052,0.732), (6.965,0.667,7.03,0.732), (6.965,0.667,7.03,0.732), (7.035,0.667,7.167,0.732), (7.102,0.667,7.167,0.732), (7.102,0.667,7.305,0.732), (7.24,0.667,7.305,0.732), (7.24,0.667,7.305,0.732), (7.24,0.667,7.305,0.732), (7.24,0.667,7.455,0.732), (7.39,0.667,7.455,0.732), (7.39,0.667,7.455,0.732), (7.39,0.667,7.455,0.732), (7.39,0.667,7.592,0.732), (7.527,0.667,7.592,0.732), (5.987,0.702,6.052,0.767), (5.987,0.702,6.052,0.767), (5.987,0.702,6.19,0.767), (6.125,0.702,6.19,0.767), (6.125,0.702,6.19,0.767), (6.125,0.702,6.19,0.767), (6.125,0.702,6.19,0.885), (6.402,0.702,6.467,0.885), (6.402,0.702,6.52,0.767), (6.125,0.82,6.19,0.885), (6.125,0.82,6.327,0.885), (6.262,0.82,6.327,0.885), (6.262,0.82,6.467,0.885), (0.107,0.912,0.172,1.047), (0.107,0.947,0.172,1.012), (0.27,0.947,0.335,1.222), (0.045,0.982,0.18,1.187), (0.107,0.982,0.172,1.047), (0.107,0.982,0.172,1.047), (0.107,0.982,0.172,1.047), (0.65,1.06,0.715,1.195), (1.025,1.06,1.09,1.195), (0.65,1.13,0.715,1.35), (1.025,1.13,1.09,1.35), (0.27,1.157,0.335,1.35), (0,1.285,7.84,1.4)])
R(complex109, boundary, [(0,0,7.84,1.4)])
complex109.add(gdstk.Label('A', (0.42,0.7), layer=11, texttype=0))
complex109.add(gdstk.Label('B', (7.56,0.7), layer=11, texttype=0))
complex109.add(gdstk.Label('C', (6.02,0.7), layer=11, texttype=0))
complex109.add(gdstk.Label('D', (4.06,0.56), layer=11, texttype=0))
complex109.add(gdstk.Label('E', (5.6,0.7), layer=11, texttype=0))
complex109.add(gdstk.Label('F', (3.78,0.7), layer=11, texttype=0))
complex109.add(gdstk.Label('G', (2.1,0.7), layer=11, texttype=0))
complex109.add(gdstk.Label('H', (1.68,0.7), layer=11, texttype=0))
complex109.add(gdstk.Label('Y', (0.14,0.98), layer=11, texttype=0))
complex109.add(gdstk.Label('VCC', (0,1.4), layer=11, texttype=0))
complex109.add(gdstk.Label('GND', (0,0), layer=11, texttype=0))

lib.write_gds('COMPLEX109.gds')
